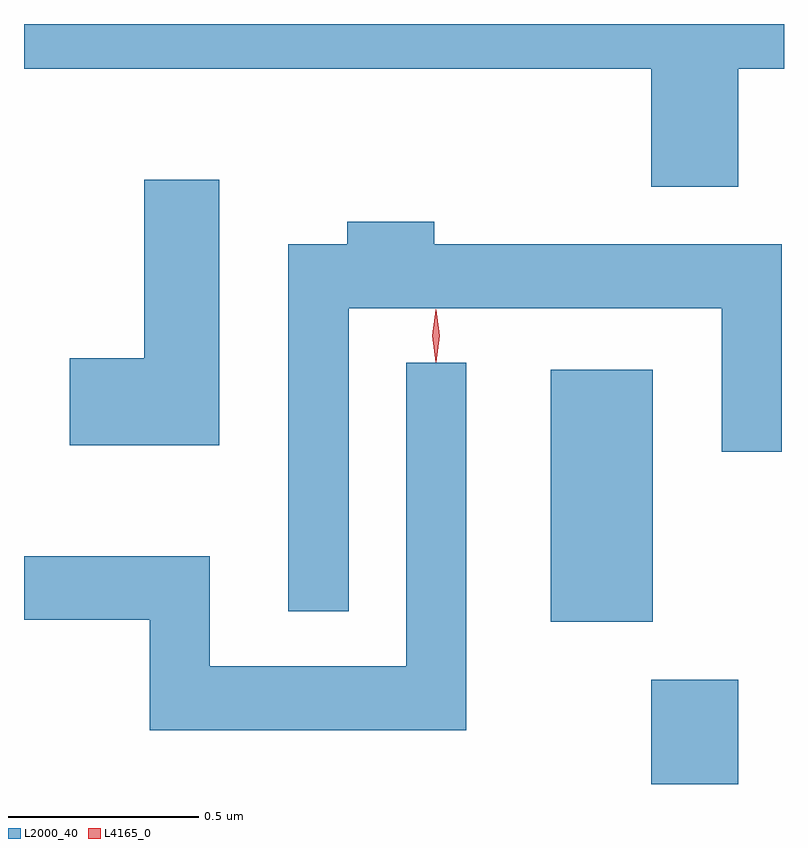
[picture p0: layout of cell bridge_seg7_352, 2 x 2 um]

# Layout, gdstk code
import gdstk
lib = gdstk.Library(unit=1e-6, precision=1e-09)
def R(c, l, rs):  # rectangles x0, y0, x1, y1
    for r in rs: c.add(gdstk.rectangle(r[:2], r[2:], *l))
def P(c, l, *ps):  # polygons
    for p in ps: c.add(gdstk.Polygon(p, *l))
L2000_40 = (2000, 40)
L4165_0 = (4165, 0)

bridge_seg7_352 = lib.new_cell('bridge_seg7_352')
R(bridge_seg7_352, L2000_40, [(1202.311,1776.814,1202.539,1777.089), (1202.046,1777.241,1202.314,1777.904)])
P(bridge_seg7_352, L2000_40, [(1202.539,1778.696),(1202.66,1778.696),(1202.66,1778.814),(1200.66,1778.814),(1200.66,1778.696),(1202.311,1778.696),(1202.311,1778.386),(1202.539,1778.386)],
  [(1201.174,1778.404),(1200.976,1778.404),(1200.976,1777.934),(1200.781,1777.934),(1200.781,1777.706),(1201.174,1777.706)],
  [(1201.514,1778.066),(1202.496,1778.066),(1202.496,1777.688),(1202.654,1777.688),(1202.654,1778.234),(1201.739,1778.234),(1201.739,1778.294),(1201.511,1778.294),(1201.511,1778.234),(1201.356,1778.234),(1201.356,1777.268),(1201.514,1777.268)],
  [(1201.824,1777.923),(1201.666,1777.923),(1201.666,1777.124),(1201.149,1777.124),(1201.149,1777.414),(1200.66,1777.414),(1200.66,1777.246),(1200.991,1777.246),(1200.991,1776.956),(1201.824,1776.956)])
P(bridge_seg7_352, L4165_0, [(1201.744,1777.924),(1201.744,1777.924),(1201.734,1777.993),(1201.744,1778.062),(1201.744,1778.063),(1201.745,1778.062),(1201.754,1777.993),(1201.745,1777.924)])

lib.write_gds('bridge_seg7_352.gds')
